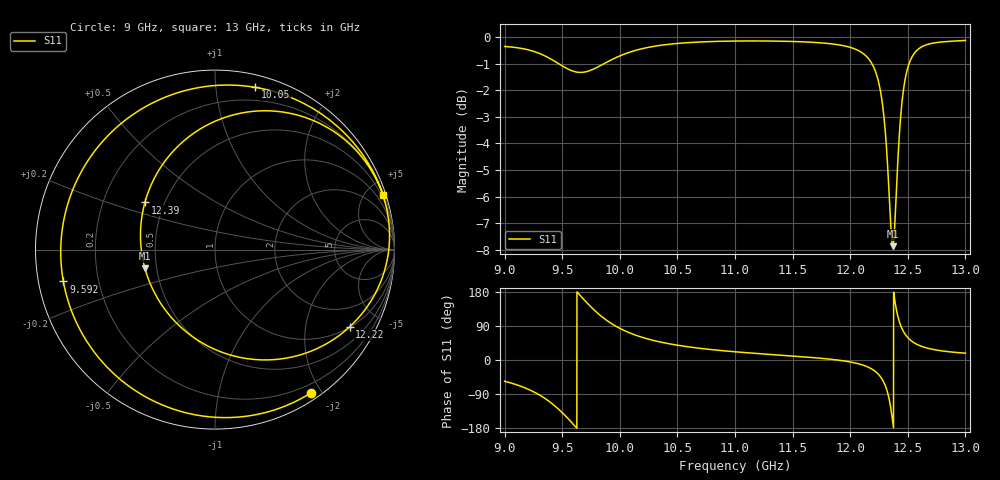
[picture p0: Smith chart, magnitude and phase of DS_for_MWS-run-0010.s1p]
! TOUCHSTONE file generated by CST DESIGN STUDIO
! Date and time: Tue Feb  4 16:29:48 2025
! Project name: C:\Work\MatlabApps\UnitCellOptimizationMatlab\CST\unitcell.cst
! Tree item: Tasks\Sweep1\SPara1\S-Parameters
! Header version: 2024
! Port assignment regex: !\s*Touchstone port\s*([0-9]+)\s*=\s*(CST MWS port|CST DES external port|CST DES block port)\s*(.+)\s* \(\"(.*)\"\)(\s*mode\s*([0-9]+))?.*
! Touchstone port assignment:
! Touchstone port 1 = CST DES external port 1 ("")
# GHz S MA R 50
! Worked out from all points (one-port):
!   4001 points, 9 GHz to 13 GHz, reference 50 ohm
!   lowest |S11| = -7.9 dB at 12.37 GHz (marker M1), VSWR 2.36, Z = 21.5 - j5.39 ohm
!   |S11| at or under -10 dB: nowhere
!   S11 on the Smith chart (normalised r, x): 9 GHz: 0.09, -1.87; 9.592 GHz: 0.07, -0.10; 10.05 GHz: 0.09, +1.27; 12.22 GHz: 1.02, -3.47; 12.39 GHz: 0.39, +0.26; 13 GHz: 0.29, +6.29
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9  0.9607 -56.1
9.164  0.9509 -72.0
9.315  0.9295 -94.6
9.412  0.907 -115.2
9.5  0.8832 -138.9
9.592  0.8633 -168.1
9.684  0.8591 160.9
9.796  0.8759 126.8
9.889  0.8977 104.0
10  0.9221 83.5
10.05  0.9313 76.2
10.247  0.9568 55.2
10.5  0.9732 39.0
11  0.9834 21.7
11.5  0.9816 10.5
12  0.9569 -5.2
12.134  0.9234 -16.0
12.217  0.8645 -29.9
12.269  0.7772 -46.9
12.314  0.6243 -75.4
12.342  0.4866 -108.9
12.37  0.4042 -165.0
12.393  0.4708 146.1
12.439  0.7127 90.4
12.5  0.8763 59.1
12.563  0.9363 43.9
12.651  0.9657 32.9
13  0.9859 18.0
